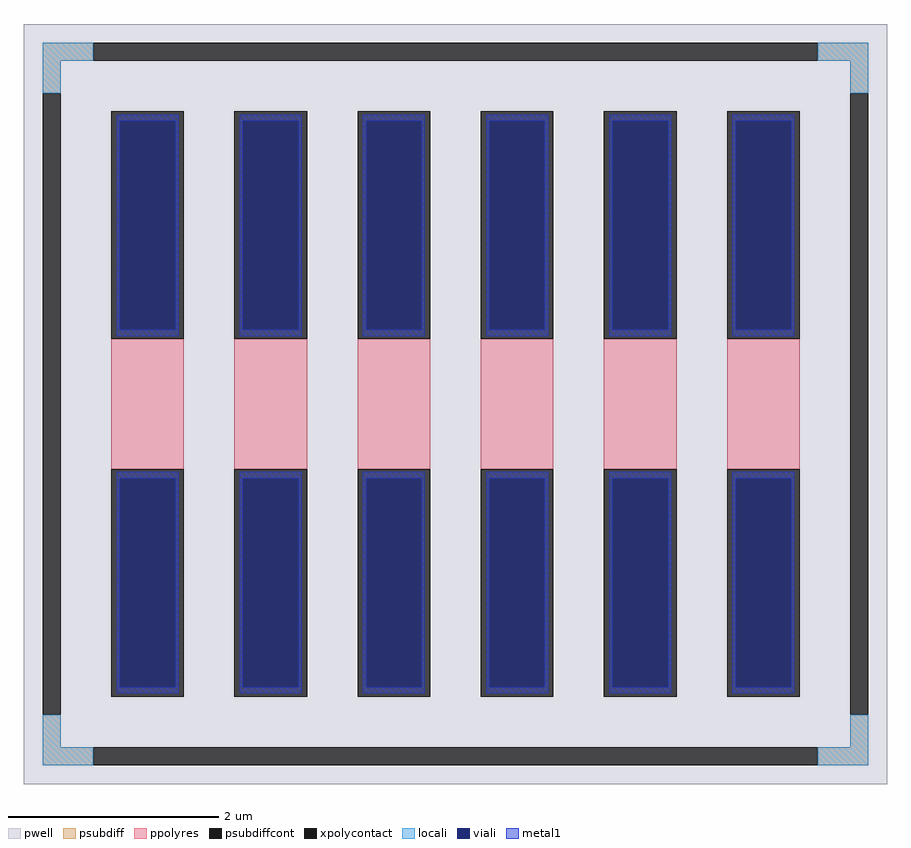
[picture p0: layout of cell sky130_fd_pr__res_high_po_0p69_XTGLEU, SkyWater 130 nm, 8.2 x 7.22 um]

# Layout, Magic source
magic
tech sky130A
magscale 1 2
<< pwell >>
rect -820 -722 820 722
<< psubdiff >>
rect -784 652 -688 686
rect 688 652 784 686
rect -784 590 -750 652
rect 750 590 784 652
rect -784 -652 -750 -590
rect 750 -652 784 -590
rect -784 -686 -688 -652
rect 688 -686 784 -652
<< psubdiffcont >>
rect -688 652 688 686
rect -784 -590 -750 590
rect 750 -590 784 590
rect -688 -686 688 -652
<< xpolycontact >>
rect -654 124 -516 556
rect -654 -556 -516 -124
rect -420 124 -282 556
rect -420 -556 -282 -124
rect -186 124 -48 556
rect -186 -556 -48 -124
rect 48 124 186 556
rect 48 -556 186 -124
rect 282 124 420 556
rect 282 -556 420 -124
rect 516 124 654 556
rect 516 -556 654 -124
<< ppolyres >>
rect -654 -124 -516 124
rect -420 -124 -282 124
rect -186 -124 -48 124
rect 48 -124 186 124
rect 282 -124 420 124
rect 516 -124 654 124
<< locali >>
rect -784 652 -688 686
rect 688 652 784 686
rect -784 590 -750 652
rect 750 590 784 652
rect -784 -652 -750 -590
rect 750 -652 784 -590
rect -784 -686 -688 -652
rect 688 -686 784 -652
<< viali >>
rect -638 141 -532 538
rect -404 141 -298 538
rect -170 141 -64 538
rect 64 141 170 538
rect 298 141 404 538
rect 532 141 638 538
rect -638 -538 -532 -141
rect -404 -538 -298 -141
rect -170 -538 -64 -141
rect 64 -538 170 -141
rect 298 -538 404 -141
rect 532 -538 638 -141
<< metal1 >>
rect -644 538 -526 550
rect -644 141 -638 538
rect -532 141 -526 538
rect -644 129 -526 141
rect -410 538 -292 550
rect -410 141 -404 538
rect -298 141 -292 538
rect -410 129 -292 141
rect -176 538 -58 550
rect -176 141 -170 538
rect -64 141 -58 538
rect -176 129 -58 141
rect 58 538 176 550
rect 58 141 64 538
rect 170 141 176 538
rect 58 129 176 141
rect 292 538 410 550
rect 292 141 298 538
rect 404 141 410 538
rect 292 129 410 141
rect 526 538 644 550
rect 526 141 532 538
rect 638 141 644 538
rect 526 129 644 141
rect -644 -141 -526 -129
rect -644 -538 -638 -141
rect -532 -538 -526 -141
rect -644 -550 -526 -538
rect -410 -141 -292 -129
rect -410 -538 -404 -141
rect -298 -538 -292 -141
rect -410 -550 -292 -538
rect -176 -141 -58 -129
rect -176 -538 -170 -141
rect -64 -538 -58 -141
rect -176 -550 -58 -538
rect 58 -141 176 -129
rect 58 -538 64 -141
rect 170 -538 176 -141
rect 58 -550 176 -538
rect 292 -141 410 -129
rect 292 -538 298 -141
rect 404 -538 410 -141
rect 292 -550 410 -538
rect 526 -141 644 -129
rect 526 -538 532 -141
rect 638 -538 644 -141
rect 526 -550 644 -538
<< properties >>
string FIXED_BBOX -767 -669 767 669
string gencell sky130_fd_pr__res_high_po_0p69
string library sky130
string parameters w 0.690 l 1.4 m 1 nx 6 wmin 0.690 lmin 0.50 rho 319.8 val 1.213k dummy 0 dw 0.0 term 194.82 sterm 0.0 caplen 0 guard 1 glc 1 grc 1 gtc 1 gbc 1 compatible {sky130_fd_pr__res_high_po_0p35  sky130_fd_pr__res_high_po_0p69 sky130_fd_pr__res_high_po_1p41  sky130_fd_pr__res_high_po_2p85 sky130_fd_pr__res_high_po_5p73} snake 0 full_metal 1 wmax 0.690 n_guard 0 hv_guard 0 vias 1 viagb 0 viagt 0 viagl 0 viagr 0
<< end >>
